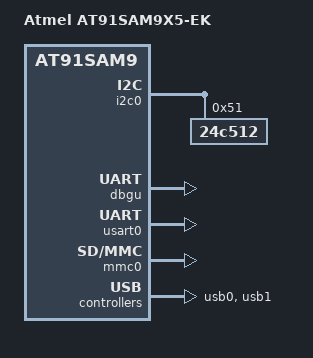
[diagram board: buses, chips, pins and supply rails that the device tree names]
/*
 * at91sam9x5ek.dtsi - Device Tree file for AT91SAM9x5CM Base board
 *
 *  Copyright (C) 2012 Atmel,
 *                2012 Nicolas Ferre <nicolas.ferre@atmel.com>
 *
 * Licensed under GPLv2 or later.
 */
/include/ "at91sam9x5cm.dtsi"

/ {
	model = "Atmel AT91SAM9X5-EK";
	compatible = "atmel,at91sam9x5ek", "atmel,at91sam9x5", "atmel,at91sam9";

	chosen {
		bootargs = "128M console=ttyS0,115200 root=/dev/mtdblock1 rw rootfstype=ubifs ubi.mtd=1 root=ubi0:rootfs";
	};

	ahb {
		apb {
			adc0: adc@f804c000 {
				pinctrl-0 = <
					&pinctrl_adc0_adtrg
					&pinctrl_adc0_ad4
					&pinctrl_adc0_ad5
					&pinctrl_adc0_ad6
					&pinctrl_adc0_ad9
				>;
				atmel,adc-channels-used = <0x0270>;
				atmel,adc-vref = <3300>;
			};

			i2c0: i2c@f8010000 {
				24c512@51 {
					compatible = "24c512";
					reg = <0x51>;
					pagesize = <128>;
				};
			};

			pinctrl@fffff400 {
				board {
					pinctrl_mmc0_cd: mmc0_cd {
						atmel,pins =
							<3 15 0x0 0x5>;	/* PD15 gpio with pullup deglitch */
					};

					pinctrl_mmc1_cd: mmc1_cd {
						atmel,pins =
							<3 14 0x0 0x5>;	/* PD14 gpio with pullup deglitch */
					};
				};
			};

			dbgu: serial@fffff200 {
				status = "okay";
			};

			usart0: serial@f801c000 {
				status = "okay";
			};

			mmc0: mmc@f0008000 {
				pinctrl-0 = <&pinctrl_mmc0_clk_cmd_dat0 &pinctrl_mmc0_dat1_3 &pinctrl_mmc0_cd>;
				status = "okay";
				slot@0 {
					reg = <0>;
					bus-width = <4>;
					cd-gpios = <&pioD 15 0>;
				};
			};

			mmc1: mmc@f000c000 {
				pinctrl-0 = <&pinctrl_mmc1_clk_cmd_dat0 &pinctrl_mmc1_dat1_3 &pinctrl_mmc1_cd>;
				slot@0 {
					reg = <0>;
					bus-width = <4>;
					cd-gpios = <&pioD 14 0>;
				};
			};

			macb0: ethernet@f802c000 {
				phy-mode = "rmii";
			};

			macb1: ethernet@f8030000 {
				phy-mode = "rmii";
			};

			i2c0: i2c@f8010000 {
				status = "okay";
			};
		};

		usb0: ohci@00600000 {
			status = "okay";
			num-ports = <3>;
			atmel,vbus-gpio = <&pioD 19 1
					   &pioD 20 1
					  >;
		};

		usb1: ehci@00700000 {
			status = "okay";
		};
	};
};
